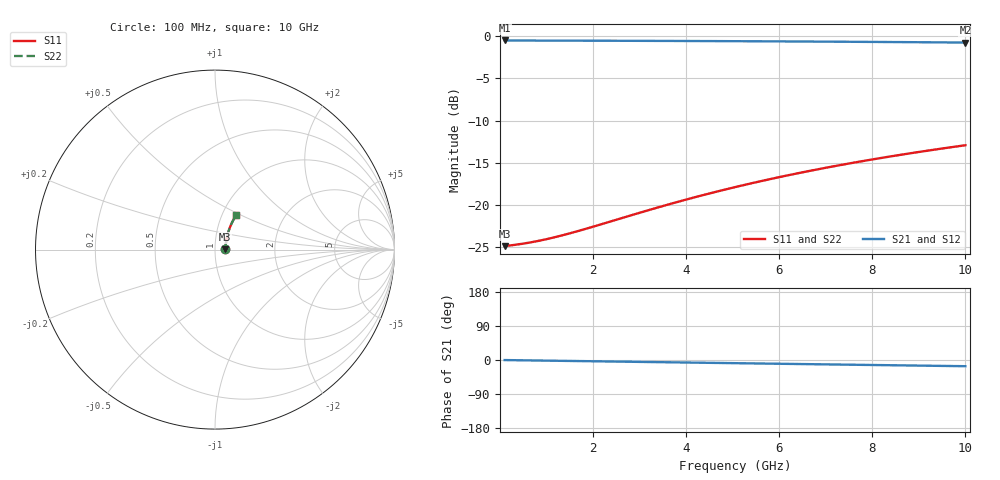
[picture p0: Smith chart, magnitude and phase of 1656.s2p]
# Hz S RI R 50.00
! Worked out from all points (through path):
!   100 points, 100 MHz to 10 GHz, reference 50 ohm
!   highest |S21| = -0.51 dB at 100 MHz (marker M1); lowest = -0.8 dB at 10 GHz (marker M2)
!   group delay of S21, straight-line fit = 4.55 ps
!   lowest |S11| = -24.9 dB at 100 MHz (marker M3), VSWR 1.12, Z = 56 + j0.235 ohm
!   |S11| at or under -10 dB: start of sweep to end of sweep
!   |S22| runs from -24.9 to -12.9 dB; largest |S21 - S12| = 0
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1e8  0.057 0.00209  0.943 -0.00275  0.943 -0.00275  0.057 0.00209
5e8  0.0581 0.0104  0.9419 -0.0137  0.9419 -0.0137  0.0581 0.0104
7e8  0.0586 0.0146  0.9414 -0.0192  0.9414 -0.0192  0.0586 0.0146
9e8  0.059 0.0187  0.941 -0.0246  0.941 -0.0246  0.059 0.0187
1.1e9  0.0594 0.0229  0.9405 -0.0301  0.9405 -0.0301  0.0594 0.0229
1.3e9  0.0599 0.027  0.94 -0.0356  0.94 -0.0356  0.0599 0.027
1.5e9  0.0604 0.0311  0.9395 -0.041  0.9395 -0.041  0.0604 0.0311
1.8e9  0.0612 0.0373  0.9387 -0.0491  0.9387 -0.0491  0.0612 0.0373
3.4e9  0.067 0.0699  0.9327 -0.0923  0.9327 -0.0923  0.067 0.0699
3.9e9  0.0693 0.0799  0.9303 -0.1056  0.9303 -0.1056  0.0693 0.0799
4.3e9  0.0714 0.0879  0.9282 -0.1162  0.9282 -0.1162  0.0714 0.0879
4.7e9  0.0736 0.0958  0.9258 -0.1267  0.9258 -0.1267  0.0736 0.0958
5.1e9  0.0761 0.1036  0.9233 -0.1372  0.9233 -0.1372  0.0761 0.1036
5.5e9  0.0786 0.1114  0.9207 -0.1476  0.9207 -0.1476  0.0786 0.1114
5.9e9  0.0814 0.1191  0.9178 -0.1579  0.9178 -0.1579  0.0814 0.1191
6.3e9  0.0843 0.1267  0.9148 -0.1682  0.9148 -0.1682  0.0843 0.1267
6.7e9  0.0874 0.1342  0.9116 -0.1783  0.9116 -0.1783  0.0874 0.1342
7.5e9  0.094 0.1489  0.9047 -0.1983  0.9047 -0.1983  0.094 0.1489
7.9e9  0.0976 0.1561  0.901 -0.2082  0.901 -0.2082  0.0976 0.1561
8.4e9  0.1022 0.165  0.8962 -0.2204  0.8962 -0.2204  0.1022 0.165
9.2e9  0.1101 0.1789  0.888 -0.2395  0.888 -0.2395  0.1101 0.1789
1e10  0.1185 0.1923  0.8792 -0.2582  0.8792 -0.2582  0.1185 0.1923
